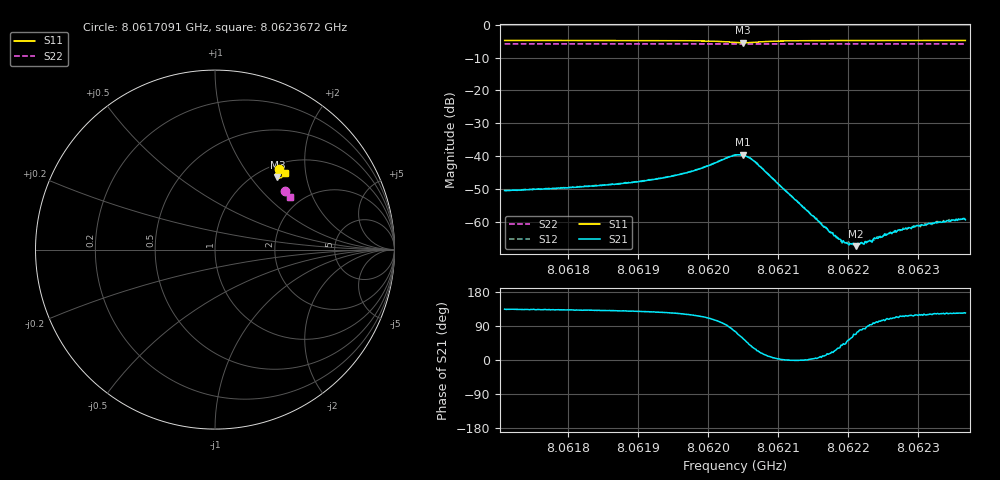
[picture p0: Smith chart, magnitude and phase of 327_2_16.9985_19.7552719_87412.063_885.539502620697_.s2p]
#  HZ  S  RI  R  50.00
! Rohde & Schwarz Vector Network Analyzer
! Rohde-Schwarz,ZNB20-2Port,1311601062101988,3.16
! Created: UTC 3/20/2024, 11:06:45 PM
! freq[Hz]  re:S11  im:S11  re:S21  im:S21  re:S12  im:S12  re:S22  im:S22
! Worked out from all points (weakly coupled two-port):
!   401 points, 8.0617091 GHz to 8.0623672 GHz, reference 50 ohm
!   highest |S21| = -39.55 dB at 8.0620497 GHz (marker M1); lowest = -67.4 dB at 8.0622109 GHz (marker M2)
!   lowest |S11| = -5.5 dB at 8.0620497 GHz (marker M3), VSWR 3.27, Z = 61 + j68.4 ohm
!   |S11| at or under -10 dB: nowhere
!   |S22| runs from -5.9 to -5.8 dB; largest |S21 - S12| = 0.00073
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8.06170912e9  0.359 0.4502  -0.00209 0.00215  -0.00198 0.00232  0.3923 0.3278
8.06181935e9  0.3667 0.4438  -0.00226 0.00257  -0.00214 0.00273  0.3963 0.3222
8.06187364e9  0.3707 0.4398  -0.0024 0.00291  -0.00226 0.00309  0.3985 0.3196
8.06192958e9  0.3752 0.4342  -0.00269 0.00369  -0.00251 0.00387  0.4005 0.3166
8.06197893e9  0.3795 0.425  -0.00282 0.00527  -0.00252 0.0055  0.4024 0.3138
8.06203816e9  0.3614 0.3986  0.00257 0.0101  0.00318 0.00999  0.4032 0.3101
8.06204968e9  0.3473 0.4025  0.00581 0.00878  0.00627 0.00832  0.403 0.3099
8.0620579e9  0.3406 0.4114  0.00707 0.00633  0.00753 0.00599  0.403 0.3101
8.06206777e9  0.3396 0.4228  0.0071 0.00384  0.00729 0.0033  0.4035 0.3101
8.06214839e9  0.3679 0.4383  0.00124 6.16e-05  0.00128 -3.21e-06  0.4079 0.3067
8.06217142e9  0.3716 0.4371  0.000712 0.000192  0.000711 0.000149  0.4088 0.3055
8.06218787e9  0.3738 0.4359  0.000462 0.00029  0.000451 0.000238  0.4095 0.3046
8.06219775e9  0.3749 0.4353  0.000314 0.000356  0.000367 0.000313  0.4099 0.3043
8.06220597e9  0.3759 0.4348  0.00023 0.000407  0.000289 0.000351  0.4102 0.3038
8.06221091e9  0.3764 0.4345  0.00016 0.000396  0.000198 0.000408  0.4103 0.3034
8.06223065e9  0.3783 0.4333  -2.74e-05 0.000524  -1.02e-06 0.000515  0.4112 0.3024
8.06224217e9  0.3793 0.4325  -9.06e-05 0.000553  -0.000128 0.000575  0.4114 0.3019
8.06225862e9  0.3808 0.4317  -0.000207 0.00064  -0.00017 0.000655  0.4121 0.3009
8.06228988e9  0.383 0.4298  -0.00037 0.000695  -0.00035 0.000763  0.4133 0.2992
8.06231455e9  0.385 0.4284  -0.000471 0.000816  -0.00042 0.000818  0.4142 0.2981
8.06232443e9  0.3856 0.4279  -0.000528 0.000836  -0.000481 0.000856  0.4145 0.2976
8.0623672e9  0.3886 0.4256  -0.000603 0.000889  -0.000584 0.000961  0.4159 0.2953
